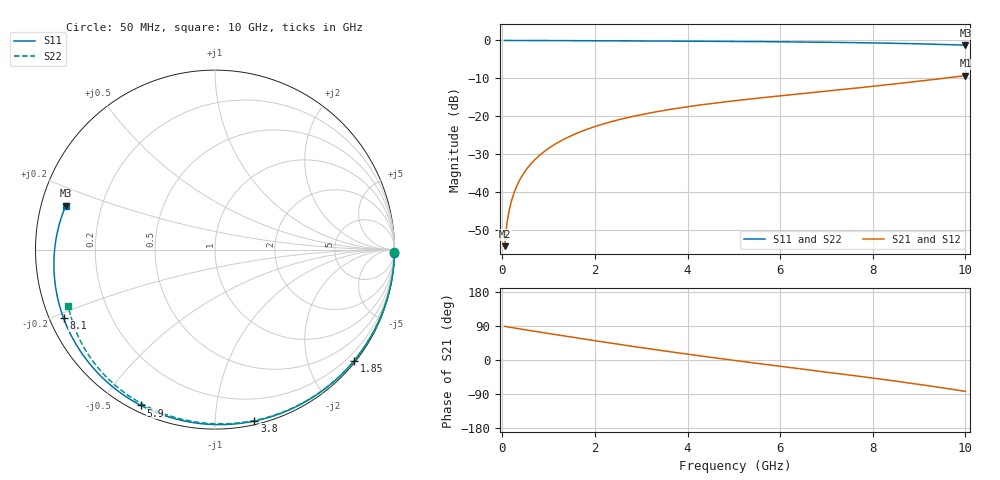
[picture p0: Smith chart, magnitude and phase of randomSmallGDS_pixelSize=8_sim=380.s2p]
! freq	dB(S11)	phase(S11)	dB(S12)	phase(S12)
!  dB(S21)	phase(S21)	dB(S22)	phase(S22)
!S-par simulation data
#  GHz  S  DB  R 50
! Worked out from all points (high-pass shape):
!   200 points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, 50 MHz to 10 GHz, reference 50 ohm
!   highest |S21| = -9.28 dB at 10 GHz (marker M1); lowest = -54.2 dB at 50 MHz (marker M2)
!   |S21| within 3 dB of the highest: 7.855 GHz to end of sweep
!   lowest |S11| = -1.2 dB at 10 GHz (marker M3), VSWR 14.00, Z = 3.64 + j7.18 ohm
!   |S11| at or under -10 dB: nowhere
!   |S22| runs from -1.2 to 0.0 dB; largest |S21 - S12| = 0
!   S11 on the Smith chart (normalised r, x): 50 MHz: open; 1.85 GHz: 0.04, -2.84; 3.8 GHz: 0.03, -1.26; 5.9 GHz: 0.03, -0.63; 8.1 GHz: 0.04, -0.21; 10 GHz: 0.07, +0.14
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0.05  -0.00 -1.1  -54.23 88.9  -54.23 88.9  -0.00 -0.9
0.1  -0.00 -2.1  -48.22 87.8  -48.22 87.8  -0.00 -1.8
0.15  -0.00 -3.2  -44.71 86.7  -44.71 86.7  -0.00 -2.8
0.2  -0.00 -4.3  -42.22 85.6  -42.22 85.6  -0.00 -3.7
0.35  -0.01 -7.5  -37.41 82.6  -37.41 82.6  -0.01 -6.4
0.5  -0.01 -10.7  -34.35 79.6  -34.35 79.6  -0.01 -9.2
0.7  -0.02 -14.9  -31.47 75.7  -31.47 75.7  -0.02 -12.8
1  -0.03 -21.2  -28.44 69.9  -28.44 69.9  -0.03 -18.2
1.75  -0.06 -36.7  -23.78 55.6  -23.78 55.6  -0.06 -31.6
1.85  -0.07 -38.7  -23.33 53.7  -23.33 53.7  -0.06 -33.4
2.65  -0.11 -54.8  -20.50 39.0  -20.50 39.0  -0.10 -47.2
3.4  -0.15 -69.4  -18.64 25.7  -18.64 25.7  -0.14 -59.8
3.8  -0.17 -77.0  -17.84 18.8  -17.84 18.8  -0.16 -66.4
4.4  -0.21 -88.2  -16.81 8.8  -16.81 8.8  -0.20 -76.0
5.05  -0.26 -100.1  -15.85 -1.7  -15.85 -1.7  -0.24 -86.1
5.9  -0.34 -115.4  -14.73 -15.1  -14.73 -15.1  -0.31 -99.0
6.7  -0.43 -129.7  -13.74 -27.4  -13.74 -27.4  -0.40 -110.8
7.4  -0.54 -142.5  -12.86 -38.2  -12.86 -38.2  -0.49 -120.9
8.1  -0.67 -155.7  -11.96 -49.3  -11.96 -49.3  -0.61 -131.0
8.35  -0.72 -160.6  -11.63 -53.3  -11.63 -53.3  -0.66 -134.6
9.2  -0.95 -178.1  -10.45 -67.9  -10.45 -67.9  -0.88 -147.0
10  -1.24 163.6  -9.28 -82.9  -9.28 -82.9  -1.16 -158.9
